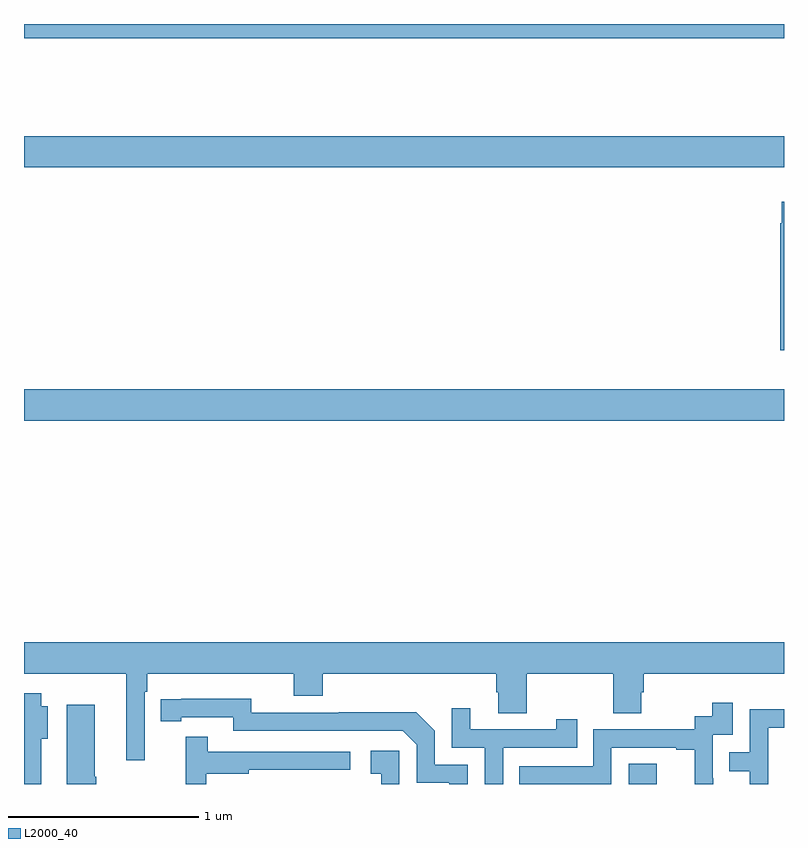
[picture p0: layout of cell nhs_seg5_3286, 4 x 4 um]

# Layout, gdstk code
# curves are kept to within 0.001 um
import gdstk
lib = gdstk.Library(unit=1e-6, precision=1e-09)
def R(c, l, rs):  # rectangles x0, y0, x1, y1
    for r in rs: c.add(gdstk.rectangle(r[:2], r[2:], *l))
def P(c, l, *ps):  # polygons
    for p in ps: c.add(gdstk.Polygon(p, *l))
L2000_40 = (2000, 40)

nhs_seg5_3286 = lib.new_cell('nhs_seg5_3286')
R(nhs_seg5_3286, L2000_40, [(304.182,902.799,304.33,902.905), (301,904.712,305,904.876), (301,906.044,305,906.208), (301,906.724,305,906.799)])
P(nhs_seg5_3286, L2000_40, [(305,905.863),(304.989,905.863),(304.989,905.75),(304.981,905.75),(304.981,905.081),(305,905.081)],
  [(301.635,903.284),(301.649,903.284),(301.649,903.38),(302.42,903.38),(302.42,903.263),(302.573,903.263),(302.573,903.38),(303.485,903.38),(303.485,903.282),(303.497,903.282),(303.497,903.172),(303.645,903.172),(303.645,903.38),(304.102,903.38),(304.102,903.172),(304.249,903.172),(304.249,903.282),(304.262,903.282),(304.262,903.38),(305,903.38),(305,903.544),(301,903.544),(301,903.38),(301.538,903.38),(301.538,902.925),(301.635,902.925)],
  [(301.09,903.038),(301.126,903.038),(301.126,903.208),(301.09,903.208),(301.09,903.277),(301,903.277),(301,902.799),(301.09,902.799)],
  [(303.336,902.901),(303.162,902.901),(303.162,903.078),(303.064,903.176),(302.656,903.176),(302.656,903.174),(302.196,903.174),(302.196,903.247),(301.72,903.246),(301.72,903.13),(301.828,903.13),(301.828,903.15),(302.1,903.15),(302.1,903.078),(302.994,903.078),(303.066,903.006),(303.066,902.805),(303.239,902.805),(303.239,902.799),(303.336,902.799)],
  [(304.092,902.991),(304.433,902.991),(304.433,902.979),(304.529,902.979),(304.529,902.799),(304.628,902.799),(304.628,902.828),(304.626,902.828),(304.626,903.057),(304.731,903.057),(304.731,903.226),(304.623,903.226),(304.623,903.156),(304.53,903.156),(304.53,903.087),(303.996,903.087),(303.996,902.892),(303.607,902.892),(303.607,902.799),(304.092,902.799)],
  [(301.38,902.837),(301.372,902.837),(301.372,903.217),(301.226,903.217),(301.226,902.799),(301.38,902.799)],
  [(303.522,902.991),(303.911,902.991),(303.911,903.139),(303.8,903.139),(303.8,903.087),(303.349,903.087),(303.349,903.199),(303.252,903.199),(303.252,902.991),(303.426,902.991),(303.426,902.799),(303.522,902.799)],
  [(304.917,903.096),(305,903.096),(305,903.192),(304.821,903.192),(304.821,902.967),(304.711,902.967),(304.711,902.866),(304.821,902.866),(304.821,902.799),(304.917,902.799)],
  [(301.96,902.854),(302.183,902.854),(302.183,902.874),(302.716,902.874),(302.716,902.97),(301.967,902.97),(301.967,903.049),(301.85,903.049),(301.85,902.799),(301.96,902.799)],
  [(302.976,902.974),(302.826,902.974),(302.826,902.853),(302.879,902.853),(302.879,902.799),(302.976,902.799)])

lib.write_gds('nhs_seg5_3286.gds')
